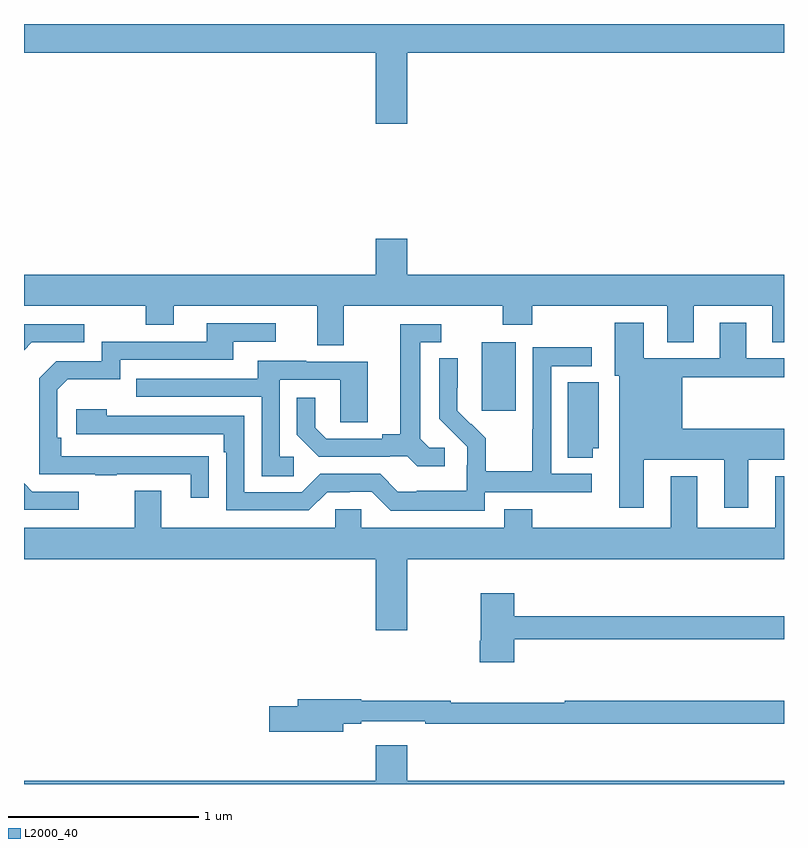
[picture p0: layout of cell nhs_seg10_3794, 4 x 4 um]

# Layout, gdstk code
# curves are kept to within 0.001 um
import gdstk
lib = gdstk.Library(unit=1e-6, precision=1e-09)
def R(c, l, rs):  # rectangles x0, y0, x1, y1
    for r in rs: c.add(gdstk.rectangle(r[:2], r[2:], *l))
def P(c, l, *ps):  # polygons
    for p in ps: c.add(gdstk.Polygon(p, *l))
L2000_40 = (2000, 40)

nhs_seg10_3794 = lib.new_cell('nhs_seg10_3794')
R(nhs_seg10_3794, L2000_40, [(321.41,1266.465,321.589,1266.826)])
P(nhs_seg10_3794, L2000_40, [(321.016,1268.348),(323,1268.348),(323,1268.5),(319,1268.5),(319,1268.348),(320.852,1268.348),(320.852,1267.974),(321.016,1267.974)],
  [(320.683,1267.016),(321.52,1267.016),(321.52,1266.917),(321.675,1266.917),(321.675,1267.016),(322.385,1267.016),(322.385,1266.826),(322.525,1266.826),(322.525,1267.016),(322.937,1267.016),(322.937,1266.826),(323,1266.826),(323,1267.18),(321.016,1267.18),(321.016,1267.369),(320.852,1267.369),(320.852,1267.18),(319,1267.18),(319,1267.016),(319.642,1267.016),(319.642,1266.917),(319.789,1266.917),(319.789,1267.016),(320.543,1267.016),(320.543,1266.808),(320.683,1266.808)],
  [(322.261,1266.206),(322.685,1266.206),(322.685,1265.955),(322.813,1265.955),(322.813,1266.206),(323,1266.206),(323,1266.37),(322.465,1266.37),(322.465,1266.64),(323,1266.64),(323,1266.741),(322.801,1266.741),(322.801,1266.928),(322.661,1266.928),(322.661,1266.741),(322.261,1266.741),(322.261,1266.928),(322.109,1266.928),(322.109,1266.648),(322.133,1266.648),(322.133,1265.955),(322.261,1265.955)],
  [(319.973,1266.224),(319.196,1266.225),(319.196,1266.322),(319.176,1266.322),(319.176,1266.576),(319.229,1266.629),(319.506,1266.629),(319.506,1266.732),(320.101,1266.732),(320.101,1266.828),(320.326,1266.828),(320.326,1266.924),(319.961,1266.924),(319.961,1266.828),(319.41,1266.828),(319.41,1266.726),(319.17,1266.726),(319.08,1266.636),(319.08,1266.129),(319.375,1266.129),(319.375,1266.124),(319.487,1266.124),(319.487,1266.129),(319.877,1266.129),(319.877,1266.006),(319.973,1266.006)],
  [(319.041,1266.825),(319.318,1266.825),(319.318,1266.921),(319,1266.921),(319,1266.784)],
  [(321.214,1266.27),(321.132,1266.27),(321.085,1266.317),(321.085,1266.825),(321.196,1266.825),(321.196,1266.921),(320.981,1266.921),(320.981,1266.341),(320.885,1266.341),(320.885,1266.318),(320.59,1266.318),(320.533,1266.375),(320.533,1266.532),(320.436,1266.532),(320.436,1266.338),(320.552,1266.222),(320.924,1266.222),(320.924,1266.225),(321.018,1266.225),(321.07,1266.173),(321.214,1266.173)],
  [(321.426,1266.036),(321.988,1266.036),(321.988,1266.132),(321.774,1266.132),(321.774,1266.699),(321.988,1266.699),(321.988,1266.798),(321.678,1266.798),(321.678,1266.368),(321.676,1266.368),(321.676,1266.145),(321.431,1266.145),(321.431,1266.319),(321.354,1266.396),(321.351,1266.393),(321.281,1266.464),(321.282,1266.74),(321.186,1266.74),(321.186,1266.422),(321.332,1266.274),(321.332,1266.177),(321.33,1266.177),(321.33,1266.043),(321.067,1266.043),(321.067,1266.039),(320.967,1266.039),(320.874,1266.132),(320.559,1266.132),(320.463,1266.036),(320.16,1266.036),(320.16,1266.438),(319.436,1266.438),(319.436,1266.472),(319.275,1266.472),(319.275,1266.342),(320.051,1266.342),(320.051,1266.245),(320.064,1266.245),(320.064,1265.94),(320.499,1265.94),(320.595,1266.036),(320.714,1266.036),(320.714,1266.039),(320.829,1266.039),(320.929,1265.939),(321.426,1265.939)],
  [(320.419,1266.222),(320.346,1266.222),(320.346,1266.627),(320.664,1266.627),(320.664,1266.403),(320.809,1266.403),(320.809,1266.723),(320.485,1266.723),(320.485,1266.727),(320.231,1266.727),(320.231,1266.633),(319.591,1266.633),(319.591,1266.537),(320.25,1266.537),(320.25,1266.121),(320.419,1266.121)],
  [(321.994,1266.266),(322.024,1266.266),(322.024,1266.614),(321.863,1266.614),(321.863,1266.217),(321.994,1266.217)],
  [(321.016,1265.684),(323,1265.684),(323,1266.121),(322.955,1266.121),(322.955,1265.848),(322.543,1265.848),(322.543,1266.121),(322.403,1266.121),(322.403,1265.848),(321.675,1265.848),(321.675,1265.947),(321.527,1265.947),(321.527,1265.848),(320.775,1265.848),(320.775,1265.946),(320.637,1265.946),(320.637,1265.848),(319.723,1265.848),(319.723,1266.043),(319.583,1266.043),(319.583,1265.848),(319,1265.848),(319,1265.684),(320.852,1265.684),(320.852,1265.31),(321.016,1265.31)],
  [(319.288,1266.039),(319.044,1266.039),(319,1266.083),(319,1265.943),(319.288,1265.943)],
  [(321.581,1265.262),(323,1265.262),(323,1265.383),(321.581,1265.383),(321.581,1265.503),(321.403,1265.503),(321.403,1265.254),(321.398,1265.254),(321.398,1265.142),(321.581,1265.142)],
  [(320.68,1264.818),(320.776,1264.818),(320.776,1264.83),(321.112,1264.83),(321.112,1264.818),(323,1264.818),(323,1264.939),(321.845,1264.939),(321.845,1264.928),(321.245,1264.928),(321.245,1264.939),(320.776,1264.939),(320.776,1264.946),(320.441,1264.946),(320.441,1264.91),(320.292,1264.91),(320.292,1264.775),(320.68,1264.775)],
  [(323,1264.516),(321.016,1264.516),(321.016,1264.705),(320.852,1264.705),(320.852,1264.516),(319,1264.516),(319,1264.5),(323,1264.5)])

lib.write_gds('nhs_seg10_3794.gds')
